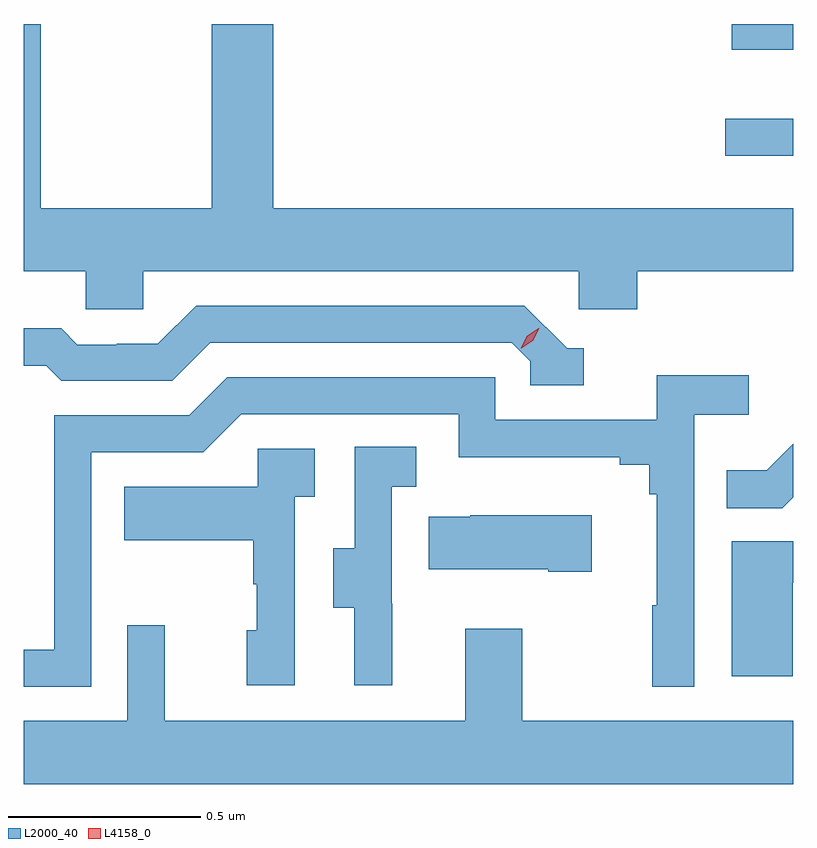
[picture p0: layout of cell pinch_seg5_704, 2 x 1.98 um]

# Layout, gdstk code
import gdstk
lib = gdstk.Library(unit=1e-6, precision=1e-09)
def R(c, l, rs):  # rectangles x0, y0, x1, y1
    for r in rs: c.add(gdstk.rectangle(r[:2], r[2:], *l))
def P(c, l, *ps):  # polygons
    for p in ps: c.add(gdstk.Polygon(p, *l))
L2000_40 = (2000, 40)
L4158_0 = (4158, 0)

pinch_seg5_704 = lib.new_cell('pinch_seg5_704')
R(pinch_seg5_704, L2000_40, [(1128.585,847.736,1128.762,847.833), (1128.602,848.012,1128.762,848.079)])
P(pinch_seg5_704, L2000_40, [(1126.806,848.079),(1126.762,848.079),(1126.762,847.436),(1126.923,847.436),(1126.923,847.338),(1127.073,847.338),(1127.073,847.436),(1128.204,847.436),(1128.204,847.338),(1128.356,847.338),(1128.356,847.436),(1128.762,847.436),(1128.762,847.6),(1127.411,847.6),(1127.411,848.079),(1127.251,848.079),(1127.251,847.6),(1126.806,847.6)],
  [(1128.217,847.236),(1128.174,847.236),(1128.063,847.347),(1127.21,847.347),(1127.111,847.248),(1127.004,847.248),(1127.004,847.245),(1126.901,847.245),(1126.859,847.288),(1126.762,847.288),(1126.762,847.191),(1126.82,847.191),(1126.859,847.152),(1127.148,847.152),(1127.247,847.251),(1128.03,847.251),(1128.078,847.203),(1128.078,847.14),(1128.217,847.14)],
  [(1126.938,846.966),(1127.229,846.966),(1127.328,847.065),(1127.892,847.065),(1127.892,846.953),(1128.311,846.953),(1128.311,846.934),(1128.388,846.934),(1128.388,846.857),(1128.407,846.857),(1128.407,846.569),(1128.396,846.569),(1128.396,846.357),(1128.504,846.357),(1128.504,847.064),(1128.646,847.064),(1128.646,847.166),(1128.407,847.166),(1128.407,847.05),(1127.988,847.05),(1127.988,847.161),(1127.291,847.161),(1127.192,847.062),(1126.842,847.062),(1126.842,846.453),(1126.762,846.453),(1126.762,846.357),(1126.938,846.357)],
  [(1128.762,846.849),(1128.762,846.988),(1128.693,846.919),(1128.589,846.919),(1128.589,846.82),(1128.733,846.82)],
  [(1127.72,846.573),(1127.718,846.573),(1127.718,846.877),(1127.782,846.877),(1127.782,846.98),(1127.622,846.98),(1127.622,846.717),(1127.567,846.717),(1127.567,846.562),(1127.621,846.562),(1127.621,846.36),(1127.72,846.36)],
  [(1127.466,846.851),(1127.518,846.851),(1127.518,846.975),(1127.37,846.975),(1127.37,846.877),(1127.023,846.877),(1127.023,846.737),(1127.358,846.737),(1127.358,846.623),(1127.368,846.623),(1127.368,846.504),(1127.342,846.504),(1127.342,846.36),(1127.466,846.36)],
  [(1128.238,846.802),(1127.923,846.802),(1127.923,846.799),(1127.815,846.799),(1127.815,846.662),(1128.125,846.662),(1128.125,846.655),(1128.238,846.655)],
  [(1128.76,846.627),(1128.762,846.627),(1128.762,846.735),(1128.602,846.735),(1128.602,846.384),(1128.76,846.384)],
  [(1128.762,846.268),(1128.057,846.268),(1128.057,846.508),(1127.909,846.508),(1127.909,846.268),(1127.129,846.268),(1127.129,846.517),(1127.031,846.517),(1127.031,846.268),(1126.762,846.268),(1126.762,846.104),(1128.762,846.104)])
P(pinch_seg5_704, L4158_0, [(1128.054,847.236),(1128.054,847.237),(1128.071,847.269),(1128.101,847.289),(1128.102,847.289),(1128.102,847.288),(1128.085,847.256),(1128.055,847.236)])

lib.write_gds('pinch_seg5_704.gds')
